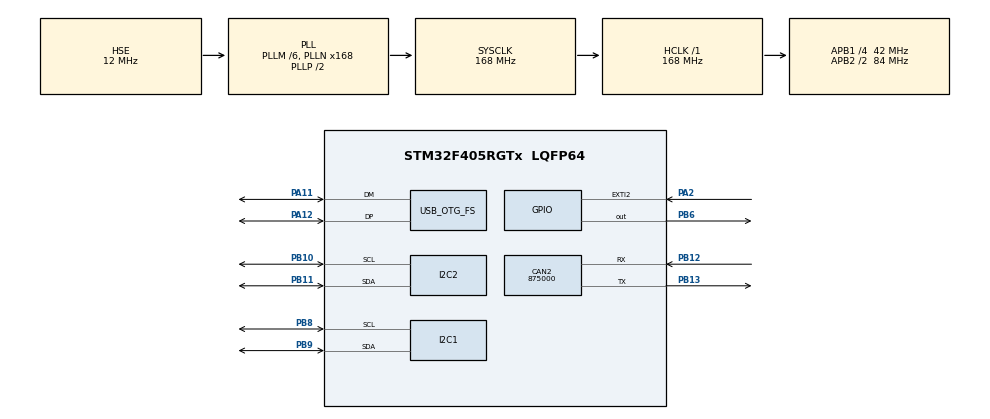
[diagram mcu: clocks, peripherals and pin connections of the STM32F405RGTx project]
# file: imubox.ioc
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CAN2.CalculateBaudRate=875000
CAN2.CalculateTimeBit=1142
CAN2.CalculateTimeQuantum=380.95238095238096
I2C1.I2C_Mode=I2C_Standard
Mcu.Family=STM32F4
Mcu.Name=STM32F405RGTx
Mcu.Package=LQFP64
NVIC.OTG_FS_IRQn=true\:0\:0\:false\:false\:true\:false\:true\:true
NVIC.PriorityGroup=NVIC_PRIORITYGROUP_4
PA11.Mode=Device_Only
PA11.Signal=USB_OTG_FS_DM
PA12.Mode=Device_Only
PA12.Signal=USB_OTG_FS_DP
PA13.Mode=Trace_Asynchronous_SW
PA13.Signal=SYS_JTMS-SWDIO
PA14.Mode=Trace_Asynchronous_SW
PA14.Signal=SYS_JTCK-SWCLK
PA2.Signal=GPXTI2
PB10.Mode=I2C
PB10.Signal=I2C2_SCL
PB11.Mode=I2C
PB11.Signal=I2C2_SDA
PB12.Mode=CAN_Activate
PB12.Signal=CAN2_RX
PB13.Mode=CAN_Activate
PB13.Signal=CAN2_TX
PB3.Mode=Trace_Asynchronous_SW
PB3.Signal=SYS_JTDO-SWO
PB6.Signal=GPIO_Output
PB8.Mode=I2C
PB8.Signal=I2C1_SCL
PB9.Mode=I2C
PB9.Signal=I2C1_SDA
PH0-OSC_IN.Mode=HSE-External-Oscillator
PH0-OSC_IN.Signal=RCC_OSC_IN
PH1-OSC_OUT.Mode=HSE-External-Oscillator
PH1-OSC_OUT.Signal=RCC_OSC_OUT
ProjectManager.HeapSize=0x200
ProjectManager.StackSize=0x400
ProjectManager.TargetToolchain=STM32CubeIDE
RCC.48MHZClocksFreq_Value=48000000
RCC.AHBFreq_Value=168000000
RCC.APB1CLKDivider=RCC_HCLK_DIV4
RCC.APB1Freq_Value=42000000
RCC.APB1TimFreq_Value=84000000
RCC.APB2CLKDivider=RCC_HCLK_DIV2
RCC.APB2Freq_Value=84000000
RCC.APB2TimFreq_Value=168000000
RCC.CortexFreq_Value=168000000
RCC.HCLKFreq_Value=168000000
RCC.HSE_VALUE=12000000
RCC.HSI_VALUE=16000000
RCC.LSE_VALUE=32768
RCC.PLLM=6
RCC.PLLN=168
RCC.PLLQ=7
RCC.SYSCLKFreq_VALUE=168000000
RCC.SYSCLKSource=RCC_SYSCLKSOURCE_PLLCLK
RCC.VCOOutputFreq_Value=336000000
USB_DEVICE.CLASS_NAME_FS=CDC
USB_DEVICE.VirtualMode-CDC_FS=Cdc
USB_DEVICE.VirtualModeFS=Cdc_FS
USB_OTG_FS.VirtualMode=Device_Only
VP_USB_DEVICE_VS_USB_DEVICE_CDC_FS.Mode=CDC_FS
board=custom

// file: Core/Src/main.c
/* USER CODE BEGIN Header */
/**
  ******************************************************************************
  * @file           : main.c
  * @brief          : Main program body
  ******************************************************************************
  * @attention
  *
  * Copyright (c) 2025 STMicroelectronics.
  * All rights reserved.
  *
  * This software is licensed under terms that can be found in the LICENSE file
  * in the root directory of this software component.
  * If no LICENSE file comes with this software, it is provided AS-IS.
  *
  ******************************************************************************
  */
/* USER CODE END Header */
#include "main.h"
#include "usb_device.h"

/* USER CODE BEGIN Includes */
#include "usbd_cdc_if.h"
/* USER CODE END Includes */

CAN_HandleTypeDef hcan2;

I2C_HandleTypeDef hi2c1;
I2C_HandleTypeDef hi2c2;

/* USER CODE BEGIN PV */

ISM330DHCX_Object_t myISM;
ISM330DHCX_IO_t io_ctx;
ISM330DHCX_Axes_t accelData, gyroData;

uint8_t ledState = GPIO_PIN_SET;

float pitch = 0.0, roll = 0.0;
float pitchAccel = 0.0, rollAccel = 0.0;
float kpitch = 0.98;
float kroll = 0.98;

CAN_TxHeaderTypeDef   TxHeader;
uint8_t               TxData[8];
uint32_t              TxMailbox;

CAN_TxHeaderTypeDef   TxHeader1;
uint8_t               TxData1[8];
uint32_t              TxMailbox1;

CAN_TxHeaderTypeDef   TxHeader2;
uint8_t               TxData2[8];
uint32_t              TxMailbox2;

/* USER CODE END PV */

void SystemClock_Config(void);
static void MX_GPIO_Init(void);
static void MX_CAN2_Init(void);
static void MX_I2C1_Init(void);
static void MX_I2C2_Init(void);

int main(void)
{

  /* MCU Configuration--------------------------------------------------------*/

  /* Reset of all peripherals, Initializes the Flash interface and the Systick. */
  HAL_Init();

  /* USER CODE BEGIN Init */
  TxHeader.IDE = CAN_ID_STD;
  TxHeader.StdId = 0x360;
  TxHeader.RTR = CAN_RTR_DATA;
  TxHeader.DLC = 6;

  TxHeader1.IDE = CAN_ID_STD;
  TxHeader1.StdId = 0x361;
  TxHeader1.RTR = CAN_RTR_DATA;
  TxHeader1.DLC = 6;

  TxHeader2.IDE = CAN_ID_STD;
  TxHeader2.StdId = 0x362;
  TxHeader2.RTR = CAN_RTR_DATA;
  TxHeader2.DLC = 6;
  /* USER CODE END Init */

  /* Configure the system clock */
  SystemClock_Config();

  /* Initialize all configured peripherals */
  MX_GPIO_Init();
  MX_CAN2_Init();
  MX_I2C1_Init();
  MX_I2C2_Init();
  MX_USB_DEVICE_Init();
  /* USER CODE BEGIN 2 */
  HAL_Delay(100);

  io_ctx.BusType  = ISM330DHCX_I2C_BUS;
  io_ctx.Address  = (0x6B << 1);
  io_ctx.Init     = MX_I2C1_Init;
//  io_ctx.DeInit   = MX_I2C1_DeInit;
  io_ctx.ReadReg  = BSP_I2C1_ReadReg;
  io_ctx.WriteReg = BSP_I2C1_WriteReg;
  io_ctx.GetTick  = HAL_GetTick;
  ISM330DHCX_RegisterBusIO(&myISM, &io_ctx);

  if (ISM330DHCX_Init(&myISM) != ISM330DHCX_OK) { // ISM330HDCX OK is equal to 0
	  	  printf("lmao your ism didnt work lil bro \n");
          Error_Handler();
      }
  /* USER CODE END 2 */

  /* Infinite loop */
  /* USER CODE BEGIN WHILE */
  if (device_reset(&myISM) != 0) {
	  printf("ism failed to reset \n");
	  Error_Handler();
  }

  config_ism(&myISM);
  //implement CAN here

  HAL_Delay(500);

  uint32_t prevTime = HAL_GetTick();
  float dt;
  int xAccel;
  int yAccel;
  int zAccel;
  int xGyro;
  int yGyro;
  int zGyro;
  while (1)
  {
	  // Note that setting it to 0 or GPIO_PIN_RESET will turn on the LED because of board tomfoolery
//	  HAL_Delay(1000);
//	  HAL_GPIO_WritePin(GPIOB, GPIO_PIN_6, GPIO_PIN_RESET);
//	  HAL_Delay(1000);
//	  HAL_GPIO_WritePin(GPIOB, GPIO_PIN_6, GPIO_PIN_SET);
//	  HAL_Delay(1000);
//	  char msg[100];
//	  sprintf(msg, "burh this be cringlee");
//	  CDC_Transmit_FS((uint8_t*) msg, strlen(msg));
//	  HAL_Delay(100);
	  printf("cringlee");

	  if (ISM330DHCX_ACC_GetAxes(&myISM, &accelData) == ISM330DHCX_OK && ISM330DHCX_GYRO_GetAxes(&myISM, &gyroData) == ISM330DHCX_OK) {
		  dt = ((float) HAL_GetTick() - (float) prevTime) / 1000.0;
		  prevTime = HAL_GetTick();

		  xAccel = (int) accelData.x;
		  yAccel = (int) accelData.y;
		  zAccel = (int) accelData.z;

		  //write to CAN
		  TxData[0] = (xAccel & 0xFF000000) >> 24;
		  TxData[1] = (xAccel & 0x00FF0000) >> 16;
		  TxData[2] = (xAccel & 0x0000FF00) >> 8;
		  TxData[3] = xAccel & 0xFF;
		  TxData[4] = (yAccel & 0xFF000000) >> 24;
		  TxData[5] = (yAccel & 0x00FF0000) >> 16;
		  TxData[6] = (yAccel & 0x0000FF00) >> 8;
		  TxData[7] = yAccel & 0xFF;
		  if (HAL_CAN_AddTxMessage(&hcan2, &TxHeader, TxData, &TxMailbox) != HAL_OK) { // this only throws error if it stores the message in mailbox incorrectly (realistically)
//		     Error_Handler();
			  HAL_Delay(50);
			  HAL_GPIO_WritePin(GPIOB, GPIO_PIN_6, GPIO_PIN_RESET);
			  HAL_Delay(50);
			  HAL_GPIO_WritePin(GPIOB, GPIO_PIN_6, GPIO_PIN_SET);
			  HAL_Delay(50);
		  }

		  // Fill half of second can message
		  TxData1[0] = (zAccel & 0xFF000000) >> 24;
		  TxData1[1] = (zAccel & 0x00FF0000) >> 16;
		  TxData1[2] = (zAccel & 0x0000FF00) >> 8;
 		  TxData1[3] = zAccel & 0xFF;

		  xGyro = (int) gyroData.x;
		  yGyro = (int) gyroData.y;
		  zGyro = (int) gyroData.z;

		  TxData[4] = (xGyro * 0xFF000000) >> 24;
		  TxData1[5] = (xGyro & 0x00FF0000) >> 16;
		  TxData1[6] = (xGyro & 0x0000FF00) >> 8;
  		  TxData1[7] = xGyro & 0xFF;

		  if (HAL_CAN_AddTxMessage(&hcan2, &TxHeader1, TxData1, &TxMailbox1) != HAL_OK) {
//			 Error_Handler();
			  HAL_Delay(50);
			  HAL_GPIO_WritePin(GPIOB, GPIO_PIN_6, GPIO_PIN_RESET);
			  HAL_Delay(50);
			  HAL_GPIO_WritePin(GPIOB, GPIO_PIN_6, GPIO_PIN_SET);
			  HAL_Delay(50);
		  }

		  //write third CAN message
		  TxData2[0] = (yGyro & 0xFF000000) >> 24;
		  TxData2[1] = (yGyro & 0x00FF0000) >> 16;
		  TxData2[2] = (yGyro & 0x0000FF00) >> 8;
		  TxData2[3] = yGyro & 0xFF;
		  TxData2[4] = (zGyro & 0xFF000000) >> 24;
		  TxData2[5] = (zGyro & 0x00FF0000) >> 16;
		  TxData2[6] = (zGyro & 0x0000FF00) >> 8;
		  TxData2[7] = zGyro & 0xFF;
		  if (HAL_CAN_AddTxMessage(&hcan2, &TxHeader2, TxData2, &TxMailbox2) != HAL_OK) {
//			 Error_Handler();
			  HAL_Delay(50);
			  HAL_GPIO_WritePin(GPIOB, GPIO_PIN_6, GPIO_PIN_RESET);
			  HAL_Delay(50);
			  HAL_GPIO_WritePin(GPIOB, GPIO_PIN_6, GPIO_PIN_SET);
			  HAL_Delay(50);
		  }

//		  pitchAccel = atan2(-yAccel, sqrt(pow(xAccel, 2) + pow(zAccel, 2))) * (180000.0f / M_PI);
//		  rollAccel = atan2(xAccel, sqrt(pow(yAccel, 2) + pow(zAccel, 2))) * (180000.0f / M_PI);
//		  pitch = kpitch * (pitch + ((float)xGyro * dt)) + (1.0f - kpitch) * pitchAccel;
//
//		  printf("%f\t%f\n", pitchAccel * 180000.0/3.1415, pitch);

	  } else {
		  Error_Handler();
	  }
    /* USER CODE END WHILE */

    /* USER CODE BEGIN 3 */

	  static uint32_t timeout = 0;
	  if (HAL_GetTick() - timeout > 1000) {
		  ledState = (ledState == GPIO_PIN_SET) ? GPIO_PIN_RESET : GPIO_PIN_SET;
		  HAL_GPIO_WritePin(GPIOB, GPIO_PIN_6, ledState);
		  timeout = HAL_GetTick();
	  }

	  HAL_Delay(5);
//	  HAL_GPIO_WritePin(GPIOB, GPIO_PIN_6, GPIO_PIN_RESET);
  }
  /* USER CODE END 3 */
}

void SystemClock_Config(void)
{
  RCC_OscInitTypeDef RCC_OscInitStruct = {0};
  RCC_ClkInitTypeDef RCC_ClkInitStruct = {0};

  /** Configure the main internal regulator output voltage
  */
  __HAL_RCC_PWR_CLK_ENABLE();
  __HAL_PWR_VOLTAGESCALING_CONFIG(PWR_REGULATOR_VOLTAGE_SCALE1);

  /** Initializes the RCC Oscillators according to the specified parameters
  * in the RCC_OscInitTypeDef structure.
  */
  RCC_OscInitStruct.OscillatorType = RCC_OSCILLATORTYPE_HSE;
  RCC_OscInitStruct.HSEState = RCC_HSE_ON;
  RCC_OscInitStruct.PLL.PLLState = RCC_PLL_ON;
  RCC_OscInitStruct.PLL.PLLSource = RCC_PLLSOURCE_HSE;
  RCC_OscInitStruct.PLL.PLLM = 6;
  RCC_OscInitStruct.PLL.PLLN = 168;
  RCC_OscInitStruct.PLL.PLLP = RCC_PLLP_DIV2;
  RCC_OscInitStruct.PLL.PLLQ = 7;
  if (HAL_RCC_OscConfig(&RCC_OscInitStruct) != HAL_OK)
  {
    Error_Handler();
  }

  /** Initializes the CPU, AHB and APB buses clocks
  */
  RCC_ClkInitStruct.ClockType = RCC_CLOCKTYPE_HCLK|RCC_CLOCKTYPE_SYSCLK
                              |RCC_CLOCKTYPE_PCLK1|RCC_CLOCKTYPE_PCLK2;
  RCC_ClkInitStruct.SYSCLKSource = RCC_SYSCLKSOURCE_PLLCLK;
  RCC_ClkInitStruct.AHBCLKDivider = RCC_SYSCLK_DIV1;
  RCC_ClkInitStruct.APB1CLKDivider = RCC_HCLK_DIV4;
  RCC_ClkInitStruct.APB2CLKDivider = RCC_HCLK_DIV2;

  if (HAL_RCC_ClockConfig(&RCC_ClkInitStruct, FLASH_LATENCY_5) != HAL_OK)
  {
    Error_Handler();
  }
}

static void MX_CAN2_Init(void)
{

	hcan2.Instance = CAN2;
	hcan2.Init.Prescaler = 2;
	hcan2.Init.Mode = CAN_MODE_NORMAL;
	hcan2.Init.SyncJumpWidth = CAN_SJW_1TQ;
	hcan2.Init.TimeSeg1 = CAN_BS1_16TQ;
	hcan2.Init.TimeSeg2 = CAN_BS2_4TQ;
	hcan2.Init.TimeTriggeredMode = DISABLE;
	hcan2.Init.AutoBusOff = ENABLE;
	hcan2.Init.AutoWakeUp = DISABLE;
	hcan2.Init.AutoRetransmission = DISABLE;
	hcan2.Init.ReceiveFifoLocked = DISABLE;
	hcan2.Init.TransmitFifoPriority = DISABLE;
  if (HAL_CAN_Init(&hcan2) != HAL_OK)
  {
    Error_Handler();
  }
  /* USER CODE BEGIN CAN2_Init 2 */
  if (HAL_CAN_Start(&hcan2) != HAL_OK)
    {
  	  Error_Handler();
    }
  /* USER CODE END CAN2_Init 2 */

}

static void MX_I2C1_Init(void)
{

  hi2c1.Instance = I2C1;
  hi2c1.Init.ClockSpeed = 100000;
  hi2c1.Init.DutyCycle = I2C_DUTYCYCLE_2;
  hi2c1.Init.OwnAddress1 = 0;
  hi2c1.Init.AddressingMode = I2C_ADDRESSINGMODE_7BIT;
  hi2c1.Init.DualAddressMode = I2C_DUALADDRESS_DISABLE;
  hi2c1.Init.OwnAddress2 = 0;
  hi2c1.Init.GeneralCallMode = I2C_GENERALCALL_DISABLE;
  hi2c1.Init.NoStretchMode = I2C_NOSTRETCH_DISABLE;
  if (HAL_I2C_Init(&hi2c1) != HAL_OK)
  {
    Error_Handler();
  }

}

static void MX_I2C2_Init(void)
{

  hi2c2.Instance = I2C2;
  hi2c2.Init.ClockSpeed = 100000;
  hi2c2.Init.DutyCycle = I2C_DUTYCYCLE_2;
  hi2c2.Init.OwnAddress1 = 0;
  hi2c2.Init.AddressingMode = I2C_ADDRESSINGMODE_7BIT;
  hi2c2.Init.DualAddressMode = I2C_DUALADDRESS_DISABLE;
  hi2c2.Init.OwnAddress2 = 0;
  hi2c2.Init.GeneralCallMode = I2C_GENERALCALL_DISABLE;
  hi2c2.Init.NoStretchMode = I2C_NOSTRETCH_DISABLE;
  if (HAL_I2C_Init(&hi2c2) != HAL_OK)
  {
    Error_Handler();
  }

}

static void MX_GPIO_Init(void)
{
  GPIO_InitTypeDef GPIO_InitStruct = {0};

  /* GPIO Ports Clock Enable */
  __HAL_RCC_GPIOH_CLK_ENABLE();
  __HAL_RCC_GPIOA_CLK_ENABLE();
  __HAL_RCC_GPIOB_CLK_ENABLE();

  /*Configure GPIO pin Output Level */
  HAL_GPIO_WritePin(GPIOB, GPIO_PIN_6, GPIO_PIN_RESET);

  /*Configure GPIO pin : PA2 */
  GPIO_InitStruct.Pin = GPIO_PIN_2;
  GPIO_InitStruct.Mode = GPIO_MODE_IT_RISING;
  GPIO_InitStruct.Pull = GPIO_NOPULL;
  HAL_GPIO_Init(GPIOA, &GPIO_InitStruct);

  /*Configure GPIO pin : PB6 */
  GPIO_InitStruct.Pin = GPIO_PIN_6;
  GPIO_InitStruct.Mode = GPIO_MODE_OUTPUT_PP;
  GPIO_InitStruct.Pull = GPIO_NOPULL;
  GPIO_InitStruct.Speed = GPIO_SPEED_FREQ_LOW;
  HAL_GPIO_Init(GPIOB, &GPIO_InitStruct);

}

/* USER CODE BEGIN 4 */

int device_reset(ISM330DHCX_Object_t *ism) {
	ism330dhcx_ctrl3_c_t ctrl3_c;
	int32_t ret;

	ret = ism330dhcx_read_reg(&ism->Ctx, ISM330DHCX_CTRL3_C, (uint8_t *)&ctrl3_c, 1);
	if (ret != 0) {
		return ret;
	}

	ctrl3_c.sw_reset = 1; // turns on reset
	ret = ism330dhcx_write_reg(&ism->Ctx, ISM330DHCX_CTRL3_C, (uint8_t *)&ctrl3_c, 1);
	if (ret != 0) {
		return ret;
	}

	do { //check to make sure register is updated
		HAL_Delay(10);
		ret = ism330dhcx_read_reg(&ism->Ctx, ISM330DHCX_CTRL3_C, (uint8_t *)&ctrl3_c, 1);
		if (ret != 0) {
			return ret;
		}
	} while (ctrl3_c.sw_reset != 0);

	return 0;
}

void config_ism(ISM330DHCX_Object_t *ism) {
    // set acc data rate to 208hz
    if (ISM330DHCX_ACC_SetOutputDataRate(ism, 208.0f) != ISM330DHCX_OK) {
        Error_Handler();
    }
    // set acc data to scale to +- 2 G's
    if (ISM330DHCX_ACC_SetFullScale(ism, 2) != ISM330DHCX_OK) {
        Error_Handler();
    }

    // set gyro data rate to 208hz
    if (ISM330DHCX_GYRO_SetOutputDataRate(ism, 208.0f) != ISM330DHCX_OK) {
        Error_Handler();
    }
    //set gyro scaling to 500 dps
    if (ISM330DHCX_GYRO_SetFullScale(ism, 500) != ISM330DHCX_OK) {
        Error_Handler();
    }

    // enable lpf2 filter
    if (ism330dhcx_xl_filter_lp2_set(&(ism->Ctx),1) != ISM330DHCX_OK) {
        Error_Handler();
    }

    // some filter
    if (ISM330DHCX_Write_Reg(ism, ISM330DHCX_CTRL1_XL, 0x00) != ISM330DHCX_OK) {
        Error_Handler();
    }

//    // gyro lpf1 filter
//    if (ISM330DHCX_GYRO_EnableLPF1(ism) != ISM330DHCX_OK) {
//        Error_Handler();
//    }
//
//    // josh cooked here? soemthing to do with setting the bandwidth to agressive
//    if (ISM330DHCX_Write_Reg(ism, ISM330DHCX_CTRL4_C, 0x00) != ISM330DHCX_OK) {
//        Error_Handler();
//    }
    if (ISM330DHCX_ACC_Enable(&myISM) != ISM330DHCX_OK || ISM330DHCX_GYRO_Enable(&myISM) != ISM330DHCX_OK) {
        Error_Handler();
     }
}

static int32_t BSP_I2C1_ReadReg(uint8_t Address, uint8_t Reg, uint8_t *pData, uint16_t Length) {
  if (HAL_I2C_Mem_Read(&hi2c1, Address, Reg, I2C_MEMADD_SIZE_8BIT, pData, Length, HAL_MAX_DELAY) == HAL_OK) {
    return 0;
  }
  return -1;
}

static int32_t BSP_I2C1_WriteReg(uint8_t Address, uint8_t Reg, uint8_t *pData, uint16_t Length) {
  if (HAL_I2C_Mem_Write(&hi2c1, Address, Reg, I2C_MEMADD_SIZE_8BIT, pData, Length, HAL_MAX_DELAY) == HAL_OK) {
    return 0;
  }
  return -1;
}

/* USER CODE END 4 */

void Error_Handler(void)
{
  /* USER CODE BEGIN Error_Handler_Debug */
  /* User can add his own implementation to report the HAL error return state */
//  __disable_irq();
//  HAL_GPIO_TogglePin(GPIOB, GPIO_PIN_13);
  while (1)
  {
	  HAL_Delay(100);
	  HAL_GPIO_WritePin(GPIOB, GPIO_PIN_6, GPIO_PIN_SET);
	  HAL_Delay(100);
	  HAL_GPIO_WritePin(GPIOB, GPIO_PIN_6, GPIO_PIN_RESET);
	  HAL_Delay(100);
  }
  /* USER CODE END Error_Handler_Debug */
}
